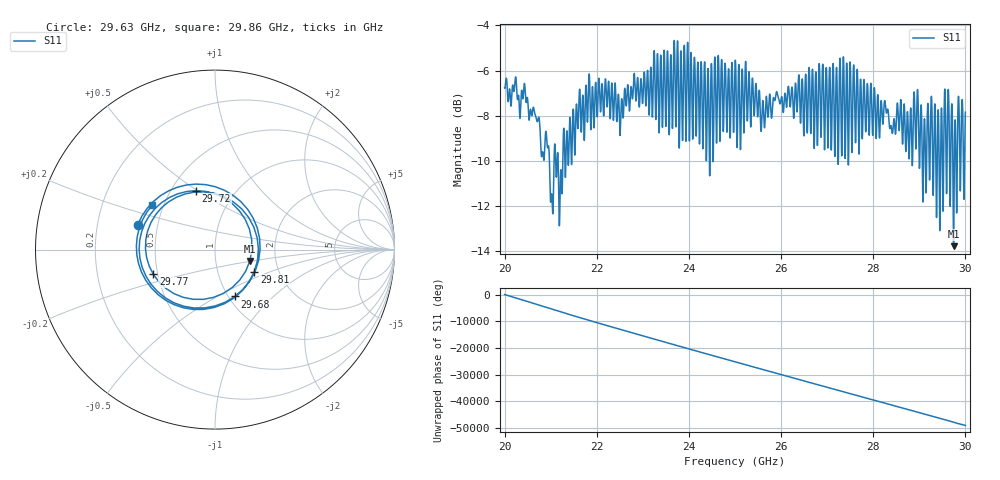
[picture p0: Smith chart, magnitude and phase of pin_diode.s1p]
#  HZ  S  RI  R  50.00
! Rohde & Schwarz ZVA40 4Ports - Version 3.90 - 1145.1110k42 SN: 100403
! Date: 2023-09-28 11:38:35
! Measurement: S22
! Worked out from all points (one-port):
!   5001 points, 20 GHz to 30 GHz, reference 50 ohm
!   lowest |S11| = -13.8 dB at 29.74 GHz (marker M1), VSWR 1.51, Z = 73.3 - j9.66 ohm
!   |S11| at or under -10 dB: 20.97226 GHz to 21.07315 GHz (100.9 MHz wide, 0.48 % of centre); 21.10683 GHz to 21.14031 GHz (33.48 MHz wide, 0.159 % of centre); 21.1619 GHz to 21.26322 GHz (101.3 MHz wide, 0.478 % of centre)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
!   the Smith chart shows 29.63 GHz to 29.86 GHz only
!   S11 on the Smith chart (normalised r, x): 29.63 GHz: 0.39, +0.13; 29.68 GHz: 1.07, -0.61; 29.72 GHz: 0.66, +0.49; 29.77 GHz: 0.47, -0.15; 29.81 GHz: 1.50, -0.39; 29.86 GHz: 0.43, +0.26
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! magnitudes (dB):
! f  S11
! 20 GHz  -6.8
! 20.71 GHz  -8.3
! 20.93 GHz  -9.4
! 21.02 GHz  -11.5
! 21.25 GHz  -11.4
! 21.8 GHz  -8.2
! 22.5 GHz  -8.5
! 23.75 GHz  -4.7
! 24.3 GHz  -9.4
! 24.42 GHz  -5.9
! 24.6 GHz  -9.2
! 25 GHz  -5.8
! 26.25 GHz  -7.0
! 27.5 GHz  -5.7
! 28.75 GHz  -8.0
! 28.92 GHz  -9.5
! 29.11 GHz  -8.2
! 29.22 GHz  -10.8
! 29.41 GHz  -7.7
! 29.59 GHz  -11.4
! 29.63 GHz  -6.9
! 29.68 GHz  -10.9
! 29.72 GHz  -9.2
! 29.74 GHz  -13.8
! 29.77 GHz  -8.6
! 29.81 GHz  -12.0
! 29.86 GHz  -7.4
! 30 GHz  -7.8
